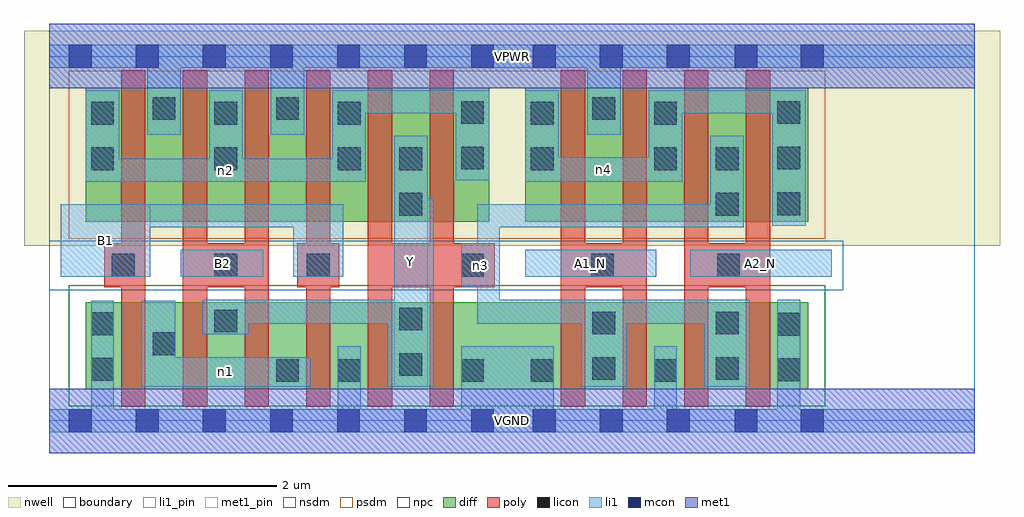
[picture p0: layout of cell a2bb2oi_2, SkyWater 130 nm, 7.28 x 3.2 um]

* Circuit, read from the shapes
.subckt a2bb2oi_2 A1_N A2_N B1 B2 VGND VPWR Y n1 n2 n3 n4
XM1 n1 B1 VGND VSUBS sky130_fd_pr__nfet_01v8 w=0.65 l=0.18 m=2
XM2 Y B2 n1 VSUBS sky130_fd_pr__nfet_01v8 w=0.65 l=0.18 m=2
XM3 Y n3 VGND VSUBS sky130_fd_pr__nfet_01v8 w=0.65 l=0.18 m=2
XM4 n3 A1_N VGND VSUBS sky130_fd_pr__nfet_01v8 w=0.65 l=0.18 m=2
XM5 n3 A2_N VGND VSUBS sky130_fd_pr__nfet_01v8 w=0.65 l=0.18 m=2
XM6 VPWR B1 n2 n5 sky130_fd_pr__pfet_01v8 w=1 l=0.18 m=2
XM7 n2 B2 VPWR n5 sky130_fd_pr__pfet_01v8 w=1 l=0.18 m=2
XM8 Y n3 n2 n5 sky130_fd_pr__pfet_01v8 w=1 l=0.18 m=2
XM9 VPWR A1_N n4 n5 sky130_fd_pr__pfet_01v8 w=1 l=0.18 m=2
XM10 n3 A2_N n4 n5 sky130_fd_pr__pfet_01v8 w=1 l=0.18 m=2
.ends

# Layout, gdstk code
import gdstk
lib = gdstk.Library(unit=1e-6, precision=1e-09)
def R(c, l, rs):  # rectangles x0, y0, x1, y1
    for r in rs: c.add(gdstk.rectangle(r[:2], r[2:], *l))
def A(c, l, x, y, w, h, nx, ny, dx, dy):  # array of equal rectangles
    R(c, l, [(x+i*dx, y+j*dy, x+i*dx+w, y+j*dy+h) for i in range(nx) for j in range(ny)])
nwell = (64, 20)
diff = (65, 20)
poly = (66, 20)
licon = (66, 44)
li1_pin = (67, 16)
li1 = (67, 20)
mcon = (67, 44)
met1_pin = (68, 16)
met1 = (68, 20)
nsdm = (93, 44)
psdm = (94, 20)
npc = (95, 20)
boundary = (235, 4)

a2bb2oi_2 = lib.new_cell('a2bb2oi_2')
R(a2bb2oi_2, nwell, [(-0.19,1.305,7.09,2.91), (0,1.305,6.9,2.91)])
R(a2bb2oi_2, diff, [(0.27,0.235,5.66,0.885), (0.27,1.485,3.28,2.485), (3.55,1.485,5.66,2.485)])
A(a2bb2oi_2, poly, 0.535, 0.105, 0.18, 2.51, 6, 1, 0.46, 0)
A(a2bb2oi_2, poly, 3.815, 0.105, 0.18, 2.51, 4, 1, 0.46, 0)
R(a2bb2oi_2, poly, [(0.41,0.995,0.715,1.325), (0.995,0.995,1.635,1.325), (1.85,0.995,2.16,1.325), (2.375,0.995,3.32,1.325), (3.815,0.995,4.455,1.325), (4.735,0.995,5.375,1.325)])
A(a2bb2oi_2, licon, 5.43, 1.535, 0.17, 0.17, 1, 3, 0, 0.34)
A(a2bb2oi_2, licon, 0.31, 1.87, 0.17, 0.17, 3, 2, 0.92, 0.34)
R(a2bb2oi_2, licon, [(1.69,0.29,1.86,0.46), (2.15,0.29,2.32,0.46), (3.07,0.29,3.24,0.46), (3.59,0.29,3.76,0.46), (4.51,0.29,4.68,0.46), (5.43,0.295,5.6,0.465), (0.31,0.3,0.48,0.47), (4.05,0.305,4.22,0.475), (4.97,0.305,5.14,0.475), (2.61,0.335,2.78,0.505), (0.77,0.49,0.94,0.66), (5.43,0.635,5.6,0.805), (0.31,0.64,0.48,0.81), (4.05,0.645,4.22,0.815), (4.97,0.645,5.14,0.815), (1.23,0.66,1.4,0.83), (2.61,0.675,2.78,0.845), (0.465,1.075,0.635,1.245), (1.23,1.075,1.4,1.245), (1.92,1.075,2.09,1.245), (3.07,1.075,3.24,1.245), (4.04,1.075,4.21,1.245), (4.98,1.075,5.15,1.245), (2.61,1.53,2.78,1.7), (4.97,1.53,5.14,1.7), (2.61,1.87,2.78,2.04), (3.59,1.87,3.76,2.04), (4.51,1.87,4.68,2.04), (4.97,1.87,5.14,2.04), (3.07,1.875,3.24,2.045), (3.59,2.21,3.76,2.38), (4.51,2.21,4.68,2.38), (3.07,2.215,3.24,2.385), (0.77,2.245,0.94,2.415), (1.69,2.245,1.86,2.415), (4.05,2.245,4.22,2.415)])
R(a2bb2oi_2, li1_pin, [(2.57,0.255,2.82,2.125), (0.085,1.075,0.75,1.615), (0.98,1.075,1.595,1.275), (3.55,1.075,4.525,1.275), (4.78,1.075,5.835,1.275)])
A(a2bb2oi_2, li1, 0.27, 1.785, 0.25, 0.68, 3, 1, 0.92, 0)
R(a2bb2oi_2, li1, [(0,-0.085,6.9,0.085), (0.31,-0.085,0.48,0.895), (2.15,-0.085,2.32,0.555), (3.07,-0.085,3.76,0.555), (4.51,-0.085,4.68,0.555), (5.43,-0.085,5.6,0.905), (0.685,0.255,1.945,0.475), (0.685,0.255,0.94,0.895), (2.525,0.255,2.865,0.905), (2.57,0.255,2.82,2.125), (2.57,0.255,2.865,1.66), (3.965,0.255,4.305,0.905), (4.885,0.255,5.225,0.905), (1.145,0.645,1.485,0.905), (1.145,0.725,2.865,0.905), (3.19,0.725,5.225,0.905), (3.19,0.725,3.36,1.615), (3.07,0.995,3.36,1.325), (0.085,1.075,0.75,1.615), (0.98,1.075,1.595,1.275), (1.82,1.075,2.19,1.615), (3.55,1.075,4.525,1.275), (4.78,1.075,5.835,1.275), (0.085,1.445,2.19,1.615), (3.19,1.445,5.18,1.615), (4.93,1.445,5.18,2.125), (5.39,1.455,5.64,2.465), (0.27,1.785,2.36,1.955), (3.55,1.785,3.8,2.465), (3.55,1.785,4.72,1.965), (4.47,1.785,4.72,2.465), (3.03,1.795,3.28,2.465), (0.73,2.135,0.98,2.805), (1.65,2.135,1.9,2.805), (4.01,2.135,4.26,2.805), (2.11,2.295,3.28,2.465), (4.47,2.295,5.64,2.465), (0,2.635,6.9,2.805)])
A(a2bb2oi_2, mcon, 0.145, -0.085, 0.17, 0.17, 7, 2, 0.5, 2.72)
A(a2bb2oi_2, mcon, 3.605, -0.085, 0.17, 0.17, 3, 2, 0.5, 2.72)
R(a2bb2oi_2, mcon, [(5.11,-0.085,5.28,0.085), (5.605,-0.085,5.775,0.085), (5.11,2.635,5.28,2.805), (5.605,2.635,5.775,2.805)])
R(a2bb2oi_2, met1_pin, [(0,-0.24,6.9,0.24), (0,2.48,6.9,2.96)])
R(a2bb2oi_2, met1, [(0,-0.24,6.9,0.24), (0,2.48,6.9,2.96)])
R(a2bb2oi_2, nsdm, [(0.145,0.11,5.785,1.01)])
R(a2bb2oi_2, psdm, [(0.145,1.36,5.785,2.61)])
R(a2bb2oi_2, npc, [(0,0.975,5.92,1.345)])
R(a2bb2oi_2, boundary, [(0,0,6.9,2.72)])
a2bb2oi_2.add(gdstk.Label('A1_N', (4.037,1.175), layer=67, texttype=5))
a2bb2oi_2.add(gdstk.Label('A2_N', (5.307,1.175), layer=67, texttype=5))
a2bb2oi_2.add(gdstk.Label('B1', (0.417,1.345), layer=67, texttype=5))
a2bb2oi_2.add(gdstk.Label('B2', (1.287,1.175), layer=67, texttype=5))
a2bb2oi_2.add(gdstk.Label('Y', (2.695,1.19), layer=67, texttype=5))
a2bb2oi_2.add(gdstk.Label('n1', (1.315,0.365), layer=67, texttype=5))
a2bb2oi_2.add(gdstk.Label('n3', (3.215,1.16), layer=67, texttype=5))
a2bb2oi_2.add(gdstk.Label('n2', (1.315,1.87), layer=67, texttype=5))
a2bb2oi_2.add(gdstk.Label('n4', (4.135,1.875), layer=67, texttype=5))
a2bb2oi_2.add(gdstk.Label('VPWR', (3.45,2.72), layer=68, texttype=5))
a2bb2oi_2.add(gdstk.Label('VGND', (3.45,0), layer=68, texttype=5))
a2bb2oi_2.add(gdstk.Label('A1_N', (4.037,1.175), layer=67, texttype=16))
a2bb2oi_2.add(gdstk.Label('A2_N', (5.307,1.175), layer=67, texttype=16))
a2bb2oi_2.add(gdstk.Label('B1', (0.417,1.345), layer=67, texttype=16))
a2bb2oi_2.add(gdstk.Label('B2', (1.287,1.175), layer=67, texttype=16))
a2bb2oi_2.add(gdstk.Label('Y', (2.695,1.19), layer=67, texttype=16))
a2bb2oi_2.add(gdstk.Label('VPWR', (3.45,2.72), layer=68, texttype=16))
a2bb2oi_2.add(gdstk.Label('VGND', (3.45,0), layer=68, texttype=16))

lib.write_gds('a2bb2oi_2.gds')
